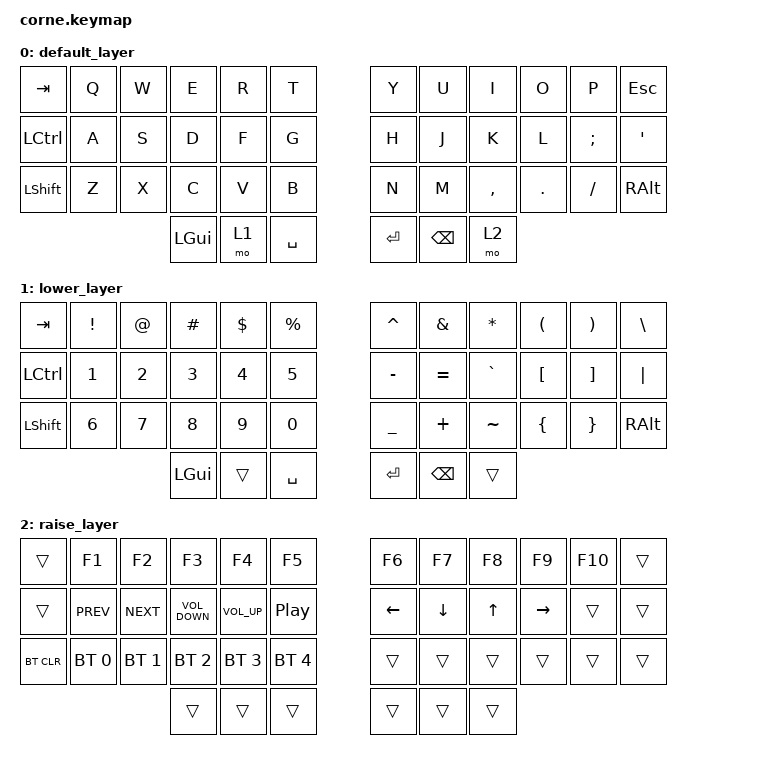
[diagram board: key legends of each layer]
/*
 * Copyright (c) 2020 The ZMK Contributors
 *
 * SPDX-License-Identifier: MIT
 */

#include <behaviors.dtsi>
#include <dt-bindings/zmk/bt.h>
#include <dt-bindings/zmk/keys.h>

/ {
    combos {
        compatible = "zmk,combos";

        combo_esc {
            bindings = <&kp ESC>;
            key-positions = <20 19>;
            layers = <0>;
        };
    };

    keymap {
        compatible = "zmk,keymap";

        default_layer {
            // -----------------------------------------------------------------------------------------
            // |  TAB |  Q  |  W  |  E  |  R  |  T  |   |  Y  |  U   |  I  |  O  |  P  | BSPC |
            // | CTRL |  A  |  S  |  D  |  F  |  G  |   |  H  |  J   |  K  |  L  |  ;  |  '   |
            // | SHFT |  Z  |  X  |  C  |  V  |  B  |   |  N  |  M   |  ,  |  .  |  /  | ESC  |
            //                    | GUI | LWR | SPC |   | ENT | RSE  | ALT |

            bindings = <
&kp TAB    &kp Q  &kp W  &kp E     &kp R  &kp T        &kp Y    &kp U          &kp I      &kp O    &kp P     &kp ESCAPE
&kp LCTRL  &kp A  &kp S  &kp D     &kp F  &kp G        &kp H    &kp J          &kp K      &kp L    &kp SEMI  &kp SQT
&kp LSHFT  &kp Z  &kp X  &kp C     &kp V  &kp B        &kp N    &kp M          &kp COMMA  &kp DOT  &kp FSLH  &kp RIGHT_ALT
                         &kp LGUI  &mo 1  &kp SPACE    &kp RET  &kp BACKSPACE  &mo 2
            >;
        };

        lower_layer {
            // -----------------------------------------------------------------------------------------
            // |  TAB |  1  |  2  |  3  |  4  |  5  |   |  6  |  7  |  8  |  9  |  0  | BSPC |
            // | BTCLR| BT1 | BT2 | BT3 | BT4 | BT5 |   | LFT | DWN |  UP | RGT |     |      |
            // | SHFT |     |     |     |     |     |   |     |     |     |     |     |      |
            //                    | GUI |     | SPC |   | ENT |     | ALT |

            bindings = <
&kp TAB    &kp EXCL      &kp AT        &kp HASH      &kp DOLLAR    &kp PERCENT     &kp CARET  &kp AMPS       &kp STAR   &kp LEFT_PARENTHESIS  &kp RIGHT_PARENTHESIS  &kp BACKSLASH
&kp LCTRL  &kp NUMBER_1  &kp NUMBER_2  &kp NUMBER_3  &kp NUMBER_4  &kp N5          &kp MINUS  &kp EQUAL      &kp GRAVE  &kp LEFT_BRACKET      &kp RIGHT_BRACKET      &kp PIPE
&kp LSHFT  &kp NUMBER_6  &kp N7        &kp N8        &kp NUMBER_9  &kp NUMBER_0    &kp UNDER  &kp PLUS       &kp TILDE  &kp LEFT_BRACE        &kp RIGHT_BRACE        &kp RIGHT_ALT
                                       &kp LGUI      &trans        &kp SPACE       &kp RET    &kp BACKSPACE  &trans
            >;
        };

        raise_layer {
            // -----------------------------------------------------------------------------------------
            // |  TAB |  !  |  @  |  #  |  $  |  %  |   |  ^  |  &  |  *  |  (  |  )  | BSPC |
            // | CTRL |     |     |     |     |     |   |  -  |  =  |  [  |  ]  |  \  |  `   |
            // | SHFT |     |     |     |     |     |   |  _  |  +  |  {  |  }  | "|" |  ~   |
            //                    | GUI |     | SPC |   | ENT |     | ALT |

            bindings = <
&trans      &kp F1        &kp F2        &kp F3             &kp F4           &kp F5              &kp F6    &kp F7    &kp F8  &kp F9     &kp F10  &trans
&trans      &kp C_PREV    &kp C_NEXT    &kp C_VOLUME_DOWN  &kp C_VOLUME_UP  &kp C_PLAY_PAUSE    &kp LEFT  &kp DOWN  &kp UP  &kp RIGHT  &trans   &trans
&bt BT_CLR  &bt BT_SEL 0  &bt BT_SEL 1  &bt BT_SEL 2       &bt BT_SEL 3     &bt BT_SEL 4        &trans    &trans    &trans  &trans     &trans   &trans
                                        &trans             &trans           &trans              &trans    &trans    &trans
            >;
        };
    };
};
